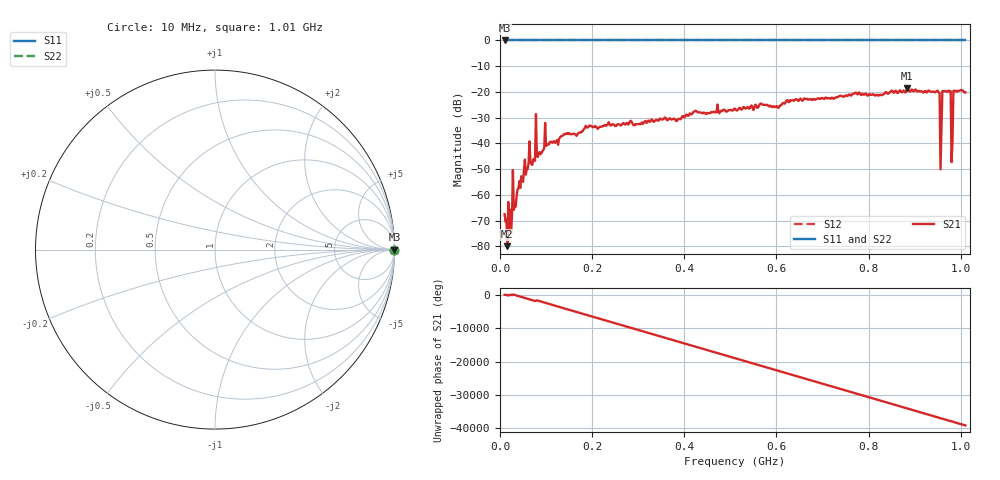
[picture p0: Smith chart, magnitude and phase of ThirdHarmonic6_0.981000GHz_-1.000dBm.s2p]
! 8/16/2025 7:36:45 AM
! C:\ANRITSUVNA\TEMP\TEMP.S2P
! CHANNEL.1
! TR.MEASUREMENT
! RAW.DATA
! RF.CORRECTION.OFF
! AVERAGING.OFF
! IF.BANDWIDTH: 5KHZ
! SWEEPTYPE:  FREQ.SWEEP(Linear)
! Reference Plane Port Info
! PORT:  PORT1  PORT2
! DISTANCE:  0  m  0  m
! TIME:  0  s  0  s
! PHASE.OFFSET:  0  deg.  0  deg.
! LOSS:  0  dB  0  dB
! REF.LOSS:  0  dB  0  dB
! REF.FREQ:  0  Hz  0  Hz
! Power Info
! POWER:  -20  dBm  -20  dBm
! EFF.POWER:  -20  dBm  -20  dBm
! SOURCE.ATTEN:  0  dB  0  dB
! TEST.ATTEN:  0  dB  0  dB
# GHZ S RI R 50.0
! FREQ.GHZ  S11RE  S11IM  S21RE  S21IM  S12RE  S12IM  S22RE  S22IM
!; PortSelection: Port_12
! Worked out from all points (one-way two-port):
!   501 points, 10 MHz to 1.01 GHz, reference 50 ohm
!   highest |S21| = -18.66 dB at 884 MHz (marker M1); lowest = -79.9 dB at 16 MHz (marker M2)
!   lowest |S11| = 0.0 dB at 10 MHz (marker M3)
!   |S11| at or under -10 dB: nowhere
!   |S22| runs from 0.0 to 0.0 dB; largest |S21 - S12| = 1.1
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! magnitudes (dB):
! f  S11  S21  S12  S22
! 10 MHz  0.0  -67.5  0.0  0.0
! 16 MHz  0.0  -79.9  0.0  0.0
! 20 MHz  0.0  -74.1  0.0  0.0
! 50 MHz  0.0  -54.9  0.0  0.0
! 72 MHz  0.0  -46.2  0.0  0.0
! 76 MHz  0.0  -46.7  0.0  0.0
! 178 MHz  0.0  -35.3  0.0  0.0
! 344 MHz  0.0  -31.2  0.0  0.0
! 510 MHz  0.0  -26.5  0.0  0.0
! 678 MHz  0.0  -23.1  0.0  0.0
! 844 MHz  0.0  -20.4  0.0  0.0
! 884 MHz  0.0  -18.7  0.0  0.0
! 950 MHz  0.0  -19.5  0.0  0.0
! 954 MHz  0.0  -20.5  0.0  0.0
! 956 MHz  0.0  -50.1  0.0  0.0
! 960 MHz  0.0  -19.7  0.0  0.0
! 964 MHz  0.0  -19.6  0.0  0.0
! 974 MHz  0.0  -19.5  0.0  0.0
! 978 MHz  0.0  -19.7  0.0  0.0
! 984 MHz  0.0  -19.5  0.0  0.0
! 988 MHz  0.0  -19.5  0.0  0.0
! 1.01 GHz  0.0  -20.2  0.0  0.0
